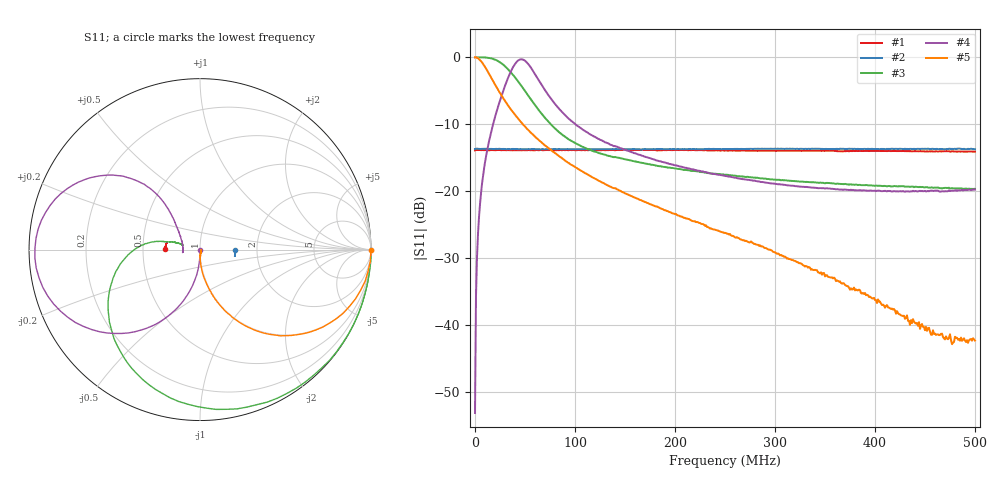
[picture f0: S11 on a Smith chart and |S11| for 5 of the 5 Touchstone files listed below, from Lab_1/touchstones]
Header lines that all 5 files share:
# MHz S MA R 50
!  freq  S11
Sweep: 50 kHz to 500 MHz
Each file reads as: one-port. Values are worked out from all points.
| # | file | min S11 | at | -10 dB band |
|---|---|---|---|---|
| 1 | r33_5.s1p | -14.1 dB | 482 MHz | over 499.9 MHz wide |
| 2 | r75_6.s1p | -13.8 dB | 65.04 MHz | over 499.9 MHz wide |
| 3 | rlc_11.s1p | -19.7 dB | 498 MHz | over 424.1 MHz wide |
| 4 | rlc_12.s1p | -53.1 dB | 50 kHz | over 399.4 MHz wide |
| 5 | series_r_c_9.s1p | -42.8 dB | 477 MHz | over 452 MHz wide |
